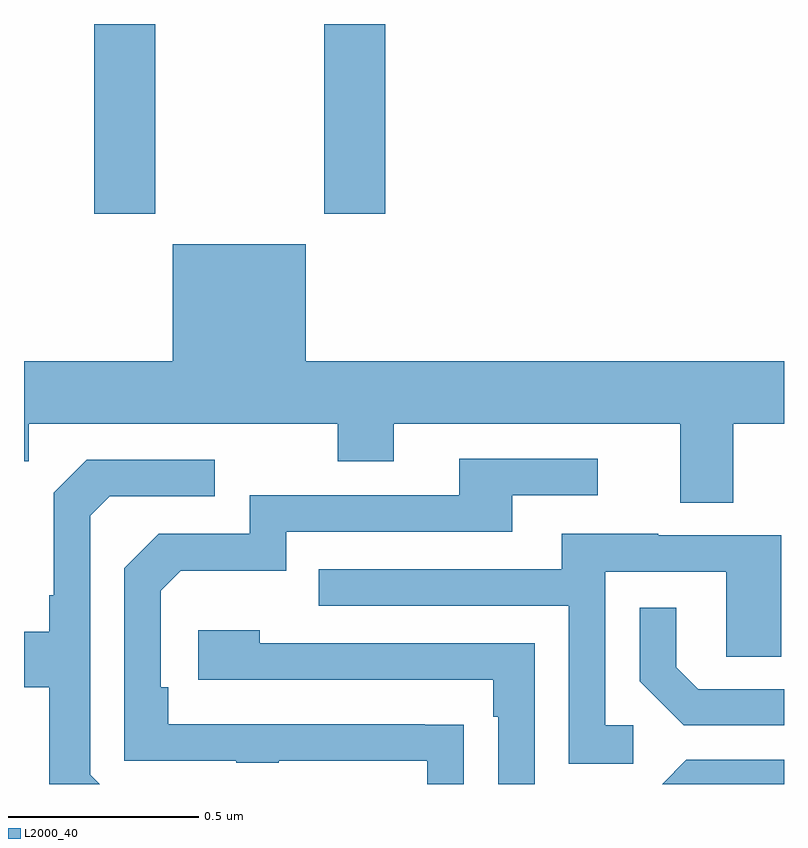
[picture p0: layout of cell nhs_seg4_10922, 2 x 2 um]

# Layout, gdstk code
import gdstk
lib = gdstk.Library(unit=1e-6, precision=1e-09)
def R(c, l, rs):  # rectangles x0, y0, x1, y1
    for r in rs: c.add(gdstk.rectangle(r[:2], r[2:], *l))
def P(c, l, *ps):  # polygons
    for p in ps: c.add(gdstk.Polygon(p, *l))
L2000_40 = (2000, 40)

nhs_seg4_10922 = lib.new_cell('nhs_seg4_10922')
R(nhs_seg4_10922, L2000_40, [(246.185,769.401,246.345,769.9), (246.79,769.401,246.95,769.9)])
P(nhs_seg4_10922, L2000_40, [(247.867,768.848),(248,768.848),(248,769.012),(246.742,769.012),(246.742,769.321),(246.392,769.321),(246.392,769.012),(246,769.012),(246,768.749),(246.012,768.749),(246.012,768.848),(246.826,768.848),(246.826,768.749),(246.973,768.749),(246.973,768.848),(247.727,768.848),(247.727,768.64),(247.867,768.64)],
  [(247.157,768.056),(247.055,768.056),(247.055,768.057),(246.38,768.057),(246.38,768.154),(246.36,768.154),(246.36,768.408),(246.413,768.461),(246.69,768.461),(246.69,768.564),(247.285,768.564),(247.285,768.66),(247.51,768.66),(247.51,768.756),(247.145,768.756),(247.145,768.66),(246.594,768.66),(246.594,768.558),(246.354,768.558),(246.264,768.468),(246.264,767.961),(246.559,767.961),(246.559,767.956),(246.671,767.956),(246.671,767.961),(247.061,767.961),(247.061,767.9),(247.157,767.9)],
  [(246.174,767.925),(246.174,768.606),(246.225,768.657),(246.502,768.657),(246.502,768.753),(246.165,768.753),(246.078,768.666),(246.078,768.397),(246.066,768.397),(246.066,768.301),(246,768.301),(246,768.154),(246.066,768.154),(246.066,767.9),(246.199,767.9)],
  [(247.603,768.054),(247.53,768.054),(247.53,768.459),(247.848,768.459),(247.848,768.235),(247.993,768.235),(247.993,768.555),(247.669,768.555),(247.669,768.559),(247.415,768.559),(247.415,768.465),(246.775,768.465),(246.775,768.369),(247.434,768.369),(247.434,767.953),(247.603,767.953)],
  [(248,768.15),(247.774,768.15),(247.717,768.207),(247.717,768.364),(247.62,768.364),(247.62,768.17),(247.736,768.054),(248,768.054)],
  [(247.344,768.27),(246.62,768.27),(246.62,768.304),(246.459,768.304),(246.459,768.174),(247.235,768.174),(247.235,768.077),(247.248,768.077),(247.248,767.9),(247.344,767.9)],
  [(248,767.964),(247.743,767.964),(247.679,767.9),(248,767.9)])

lib.write_gds('nhs_seg4_10922.gds')
